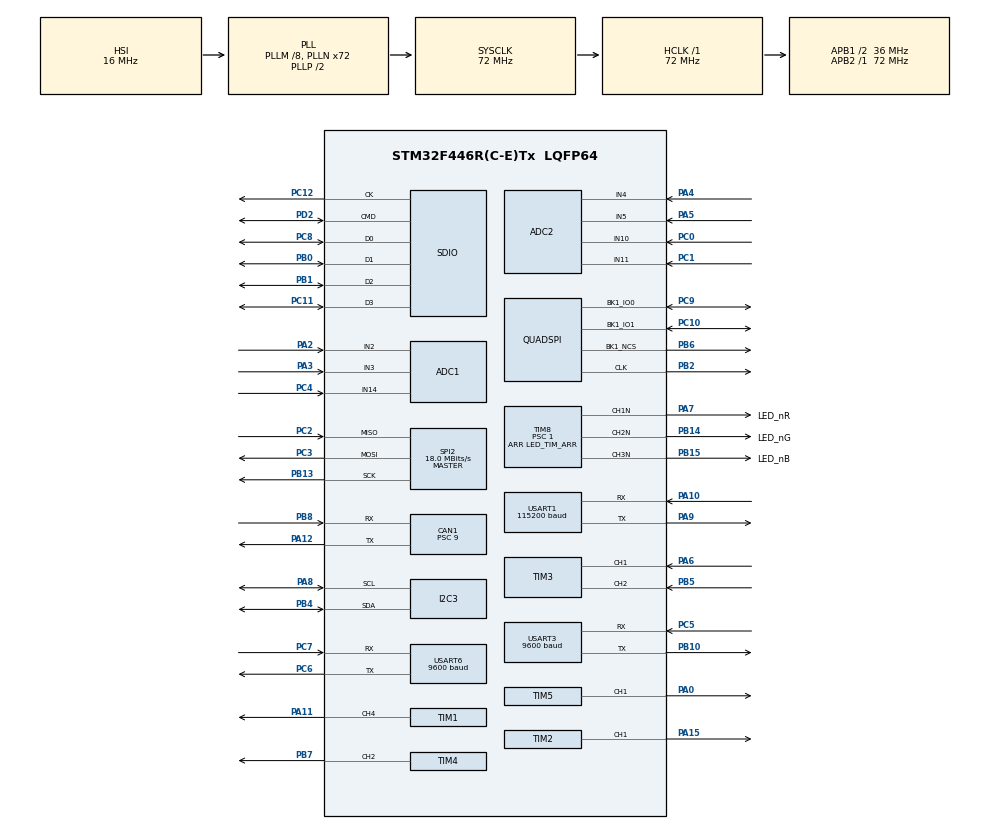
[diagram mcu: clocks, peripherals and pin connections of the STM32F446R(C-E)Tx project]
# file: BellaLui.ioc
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ADC1.Channel-95\#ChannelRegularConversion=ADC_CHANNEL_2
ADC1.NbrOfConversionFlag=1
ADC1.Rank-95\#ChannelRegularConversion=1
ADC1.SamplingTime-95\#ChannelRegularConversion=ADC_SAMPLETIME_3CYCLES
ADC1.master=1
ADC2.Channel-88\#ChannelRegularConversion=ADC_CHANNEL_4
ADC2.NbrOfConversionFlag=1
ADC2.Rank-88\#ChannelRegularConversion=1
ADC2.SamplingTime-88\#ChannelRegularConversion=ADC_SAMPLETIME_3CYCLES
CAN1.BS1=CAN_BS1_13TQ
CAN1.BS2=CAN_BS2_2TQ
CAN1.CalculateTimeQuantum=250.0
CAN1.NART=ENABLE
CAN1.Prescaler=9
Dma.I2C3_RX.2.Direction=DMA_PERIPH_TO_MEMORY
Dma.I2C3_RX.2.FIFOMode=DMA_FIFOMODE_DISABLE
Dma.I2C3_RX.2.Instance=DMA1_Stream2
Dma.I2C3_RX.2.MemDataAlignment=DMA_MDATAALIGN_BYTE
Dma.I2C3_RX.2.MemInc=DMA_MINC_ENABLE
Dma.I2C3_RX.2.Mode=DMA_NORMAL
Dma.I2C3_RX.2.PeriphDataAlignment=DMA_PDATAALIGN_BYTE
Dma.I2C3_RX.2.PeriphInc=DMA_PINC_DISABLE
Dma.I2C3_RX.2.Priority=DMA_PRIORITY_LOW
Dma.Request0=SDIO_RX
Dma.Request1=SDIO_TX
Dma.Request2=I2C3_RX
Dma.Request3=USART3_RX
Dma.Request4=USART3_TX
Dma.Request5=USART1_TX
Dma.Request6=USART6_RX
Dma.Request7=USART1_RX
Dma.SDIO_RX.0.Direction=DMA_PERIPH_TO_MEMORY
Dma.SDIO_RX.0.FIFOMode=DMA_FIFOMODE_ENABLE
Dma.SDIO_RX.0.FIFOThreshold=DMA_FIFO_THRESHOLD_FULL
Dma.SDIO_RX.0.Instance=DMA2_Stream6
Dma.SDIO_RX.0.MemBurst=DMA_MBURST_INC4
Dma.SDIO_RX.0.MemDataAlignment=DMA_MDATAALIGN_WORD
Dma.SDIO_RX.0.MemInc=DMA_MINC_ENABLE
Dma.SDIO_RX.0.Mode=DMA_PFCTRL
Dma.SDIO_RX.0.PeriphBurst=DMA_PBURST_INC4
Dma.SDIO_RX.0.PeriphDataAlignment=DMA_PDATAALIGN_WORD
Dma.SDIO_RX.0.PeriphInc=DMA_PINC_DISABLE
Dma.SDIO_RX.0.Priority=DMA_PRIORITY_LOW
Dma.SDIO_TX.1.Direction=DMA_MEMORY_TO_PERIPH
Dma.SDIO_TX.1.FIFOMode=DMA_FIFOMODE_ENABLE
Dma.SDIO_TX.1.FIFOThreshold=DMA_FIFO_THRESHOLD_FULL
Dma.SDIO_TX.1.Instance=DMA2_Stream3
Dma.SDIO_TX.1.MemBurst=DMA_MBURST_INC4
Dma.SDIO_TX.1.MemDataAlignment=DMA_MDATAALIGN_WORD
Dma.SDIO_TX.1.MemInc=DMA_MINC_ENABLE
Dma.SDIO_TX.1.Mode=DMA_PFCTRL
Dma.SDIO_TX.1.PeriphBurst=DMA_PBURST_INC4
Dma.SDIO_TX.1.PeriphDataAlignment=DMA_PDATAALIGN_WORD
Dma.SDIO_TX.1.PeriphInc=DMA_PINC_DISABLE
Dma.SDIO_TX.1.Priority=DMA_PRIORITY_LOW
Dma.USART1_RX.7.Direction=DMA_PERIPH_TO_MEMORY
Dma.USART1_RX.7.FIFOMode=DMA_FIFOMODE_DISABLE
Dma.USART1_RX.7.Instance=DMA2_Stream2
Dma.USART1_RX.7.MemDataAlignment=DMA_MDATAALIGN_BYTE
Dma.USART1_RX.7.MemInc=DMA_MINC_ENABLE
Dma.USART1_RX.7.Mode=DMA_NORMAL
Dma.USART1_RX.7.PeriphDataAlignment=DMA_PDATAALIGN_BYTE
Dma.USART1_RX.7.PeriphInc=DMA_PINC_DISABLE
Dma.USART1_RX.7.Priority=DMA_PRIORITY_LOW
Dma.USART1_TX.5.Direction=DMA_MEMORY_TO_PERIPH
Dma.USART1_TX.5.FIFOMode=DMA_FIFOMODE_DISABLE
Dma.USART1_TX.5.Instance=DMA2_Stream7
Dma.USART1_TX.5.MemDataAlignment=DMA_MDATAALIGN_BYTE
Dma.USART1_TX.5.MemInc=DMA_MINC_ENABLE
Dma.USART1_TX.5.Mode=DMA_NORMAL
Dma.USART1_TX.5.PeriphDataAlignment=DMA_PDATAALIGN_BYTE
Dma.USART1_TX.5.PeriphInc=DMA_PINC_DISABLE
Dma.USART1_TX.5.Priority=DMA_PRIORITY_LOW
Dma.USART3_RX.3.Direction=DMA_PERIPH_TO_MEMORY
Dma.USART3_RX.3.FIFOMode=DMA_FIFOMODE_DISABLE
Dma.USART3_RX.3.Instance=DMA1_Stream1
Dma.USART3_RX.3.MemDataAlignment=DMA_MDATAALIGN_BYTE
Dma.USART3_RX.3.MemInc=DMA_MINC_ENABLE
Dma.USART3_RX.3.Mode=DMA_NORMAL
Dma.USART3_RX.3.PeriphDataAlignment=DMA_PDATAALIGN_BYTE
Dma.USART3_RX.3.PeriphInc=DMA_PINC_DISABLE
Dma.USART3_RX.3.Priority=DMA_PRIORITY_LOW
Dma.USART3_TX.4.Direction=DMA_MEMORY_TO_PERIPH
Dma.USART3_TX.4.FIFOMode=DMA_FIFOMODE_DISABLE
Dma.USART3_TX.4.Instance=DMA1_Stream4
Dma.USART3_TX.4.MemDataAlignment=DMA_MDATAALIGN_BYTE
Dma.USART3_TX.4.MemInc=DMA_MINC_ENABLE
Dma.USART3_TX.4.Mode=DMA_NORMAL
Dma.USART3_TX.4.PeriphDataAlignment=DMA_PDATAALIGN_BYTE
Dma.USART3_TX.4.PeriphInc=DMA_PINC_DISABLE
Dma.USART3_TX.4.Priority=DMA_PRIORITY_LOW
Dma.USART6_RX.6.Direction=DMA_PERIPH_TO_MEMORY
Dma.USART6_RX.6.FIFOMode=DMA_FIFOMODE_DISABLE
Dma.USART6_RX.6.Instance=DMA2_Stream1
Dma.USART6_RX.6.MemDataAlignment=DMA_MDATAALIGN_BYTE
Dma.USART6_RX.6.MemInc=DMA_MINC_ENABLE
Dma.USART6_RX.6.Mode=DMA_CIRCULAR
Dma.USART6_RX.6.PeriphDataAlignment=DMA_PDATAALIGN_BYTE
Dma.USART6_RX.6.PeriphInc=DMA_PINC_DISABLE
Dma.USART6_RX.6.Priority=DMA_PRIORITY_LOW
FATFS._FS_LOCK=2
FATFS._USE_STRFUNC=0
FREERTOS.Tasks01=defaultTask,0,128,StartDefaultTask,Default,NULL,Dynamic,NULL,NULL
Mcu.Family=STM32F4
Mcu.Name=STM32F446R(C-E)Tx
Mcu.Package=LQFP64
Mcu.UserConstants=LED_TIM_ARR,1000
NVIC.CAN1_RX0_IRQn=true\:5\:0\:false\:false\:true\:true\:true\:true
NVIC.DMA1_Stream1_IRQn=true\:5\:0\:false\:false\:true\:true\:true\:true
NVIC.DMA1_Stream2_IRQn=true\:5\:0\:false\:false\:true\:true\:true\:true
NVIC.DMA1_Stream4_IRQn=true\:5\:0\:false\:false\:true\:true\:true\:true
NVIC.DMA2_Stream1_IRQn=true\:5\:0\:false\:false\:true\:true\:true\:true
NVIC.DMA2_Stream2_IRQn=true\:5\:0\:false\:false\:true\:true\:false\:true
NVIC.DMA2_Stream3_IRQn=true\:5\:0\:false\:false\:true\:true\:true\:true
NVIC.DMA2_Stream6_IRQn=true\:5\:0\:false\:false\:true\:true\:true\:true
NVIC.DMA2_Stream7_IRQn=true\:5\:0\:false\:false\:true\:true\:true\:true
NVIC.PriorityGroup=NVIC_PRIORITYGROUP_4
NVIC.QUADSPI_IRQn=true\:5\:0\:false\:false\:true\:true\:true\:true
NVIC.SDIO_IRQn=true\:5\:0\:false\:false\:true\:true\:true\:true
NVIC.TIM8_TRG_COM_TIM14_IRQn=true\:0\:0\:false\:false\:true\:false\:false\:false
NVIC.TimeBase=TIM8_TRG_COM_TIM14_IRQn
NVIC.TimeBaseIP=TIM14
NVIC.USART1_IRQn=true\:5\:0\:false\:false\:true\:true\:true\:true
PA0-WKUP.Signal=S_TIM5_CH1
PA10.Mode=Asynchronous
PA10.Signal=USART1_RX
PA11.Signal=S_TIM1_CH4
PA12.Mode=Master
PA12.Signal=CAN1_TX
PA13.Mode=Trace_Asynchronous_SW
PA13.Signal=SYS_JTMS-SWDIO
PA14.Mode=Trace_Asynchronous_SW
PA14.Signal=SYS_JTCK-SWCLK
PA15.Signal=S_TIM2_CH1_ETR
PA2.Signal=ADCx_IN2
PA3.Signal=ADCx_IN3
PA4.Signal=ADCx_IN4
PA5.Signal=ADCx_IN5
PA6.Signal=S_TIM3_CH1
PA7.GPIO_Label=LED_nR
PA7.Mode=PWM Generation1 CH1N
PA7.Signal=TIM8_CH1N
PA8.Mode=I2C
PA8.Signal=I2C3_SCL
PA9.Mode=Asynchronous
PA9.Signal=USART1_TX
PB0.Mode=SD_4_bits_Wide_bus
PB0.Signal=SDIO_D1
PB1.Mode=SD_4_bits_Wide_bus
PB1.Signal=SDIO_D2
PB10.Mode=Asynchronous
PB10.Signal=USART3_TX
PB13.Mode=Full_Duplex_Master
PB13.Signal=SPI2_SCK
PB14.GPIO_Label=LED_nG
PB14.Mode=PWM Generation2 CH2N
PB14.Signal=TIM8_CH2N
PB15.GPIO_Label=LED_nB
PB15.Mode=PWM Generation3 CH3N
PB15.Signal=TIM8_CH3N
PB2.Mode=Single Bank 1 2IOs
PB2.Signal=QUADSPI_CLK
PB3.Mode=Trace_Asynchronous_SW
PB3.Signal=SYS_JTDO-SWO
PB4.Mode=I2C
PB4.Signal=I2C3_SDA
PB5.Signal=S_TIM3_CH2
PB6.Mode=Single Bank 1 2IOs
PB6.Signal=QUADSPI_BK1_NCS
PB7.Signal=S_TIM4_CH2
PB8.Mode=Master
PB8.Signal=CAN1_RX
PC0.Signal=ADCx_IN10
PC1.Signal=ADCx_IN11
PC10.Mode=Single Bank 1 2IOs
PC10.Signal=QUADSPI_BK1_IO1
PC11.Mode=SD_4_bits_Wide_bus
PC11.Signal=SDIO_D3
PC12.Mode=SD_4_bits_Wide_bus
PC12.Signal=SDIO_CK
PC14-OSC32_IN.Mode=LSE-External-Oscillator
PC14-OSC32_IN.Signal=RCC_OSC32_IN
PC15-OSC32_OUT.Mode=LSE-External-Oscillator
PC15-OSC32_OUT.Signal=RCC_OSC32_OUT
PC2.Mode=Full_Duplex_Master
PC2.Signal=SPI2_MISO
PC3.Mode=Full_Duplex_Master
PC3.Signal=SPI2_MOSI
PC4.Signal=ADCx_IN14
PC5.Mode=Asynchronous
PC5.Signal=USART3_RX
PC6.Mode=Asynchronous
PC6.Signal=USART6_TX
PC7.Mode=Asynchronous
PC7.Signal=USART6_RX
PC8.Mode=SD_4_bits_Wide_bus
PC8.Signal=SDIO_D0
PC9.Mode=Single Bank 1 2IOs
PC9.Signal=QUADSPI_BK1_IO0
PD2.Mode=SD_4_bits_Wide_bus
PD2.Signal=SDIO_CMD
PH0-OSC_IN.Mode=HSE-External-Oscillator
PH0-OSC_IN.Signal=RCC_OSC_IN
PH1-OSC_OUT.Mode=HSE-External-Oscillator
PH1-OSC_OUT.Signal=RCC_OSC_OUT
ProjectManager.HeapSize=0x200
ProjectManager.StackSize=0x400
ProjectManager.TargetToolchain=SW4STM32
QUADSPI.FlashSize=26
RCC.AHBFreq_Value=72000000
RCC.APB1CLKDivider=RCC_HCLK_DIV2
RCC.APB1Freq_Value=36000000
RCC.APB1TimFreq_Value=72000000
RCC.APB2Freq_Value=72000000
RCC.APB2TimFreq_Value=72000000
RCC.CortexFreq_Value=72000000
RCC.HCLKFreq_Value=72000000
RCC.HSE_VALUE=8000000
RCC.PLLM=8
RCC.PLLN=72
RCC.PLLQ=3
RCC.SYSCLKFreq_VALUE=72000000
RCC.SYSCLKSource=RCC_SYSCLKSOURCE_PLLCLK
RCC.USBFreq_Value=48000000
RCC.VCOOutputFreq_Value=144000000
SH.ADCx_IN10.0=ADC2_IN10,IN10
SH.ADCx_IN11.0=ADC2_IN11,IN11
SH.ADCx_IN14.0=ADC1_IN14,IN14
SH.ADCx_IN2.0=ADC1_IN2,IN2
SH.ADCx_IN3.0=ADC1_IN3,IN3
SH.ADCx_IN4.0=ADC2_IN4,IN4
SH.ADCx_IN5.0=ADC2_IN5,IN5
SH.S_TIM1_CH4.0=TIM1_CH4,Output Compare4 CH4
SH.S_TIM2_CH1_ETR.0=TIM2_CH1,Output Compare1 CH1
SH.S_TIM3_CH1.0=TIM3_CH1,TriggerSource_TI1FP1
SH.S_TIM3_CH2.0=TIM3_CH2,Input_Capture2_from_TI2
SH.S_TIM4_CH2.0=TIM4_CH2,Output Compare2 CH2
SH.S_TIM5_CH1.0=TIM5_CH1,Output Compare1 CH1
SPI2.BaudRatePrescaler=SPI_BAUDRATEPRESCALER_2
SPI2.CalculateBaudRate=18.0 MBits/s
SPI2.Direction=SPI_DIRECTION_2LINES
SPI2.Mode=SPI_MODE_MASTER
SPI2.VirtualType=VM_MASTER
TIM1.Channel-Output\ Compare4\ CH4=TIM_CHANNEL_4
TIM2.Channel-Output\ Compare1\ CH1=TIM_CHANNEL_1
TIM3.Channel-Input_Capture2_from_TI2=TIM_CHANNEL_2
TIM4.Channel-Output\ Compare2\ CH2=TIM_CHANNEL_2
TIM5.Channel-Output\ Compare1\ CH1=TIM_CHANNEL_1
TIM8.Channel-PWM\ Generation1\ CH1N=TIM_CHANNEL_1
TIM8.Channel-PWM\ Generation2\ CH2N=TIM_CHANNEL_2
TIM8.Channel-PWM\ Generation3\ CH3N=TIM_CHANNEL_3
TIM8.OCMode_PWM-PWM\ Generation1\ CH1N=TIM_OCMODE_PWM2
TIM8.OCMode_PWM-PWM\ Generation2\ CH2N=TIM_OCMODE_PWM2
TIM8.OCMode_PWM-PWM\ Generation3\ CH3N=TIM_OCMODE_PWM2
TIM8.Period=LED_TIM_ARR
TIM8.Prescaler=1
USART1.BaudRate=115200
USART1.VirtualMode=VM_ASYNC
USART3.BaudRate=9600
USART3.VirtualMode=VM_ASYNC
USART6.BaudRate=9600
USART6.VirtualMode=VM_ASYNC
VP_FATFS_VS_SDIO.Mode=SDIO
VP_FREERTOS_VS_CMSIS_V1.Mode=CMSIS_V1
VP_SYS_VS_tim14.Mode=TIM14
VP_TIM1_VS_ClockSourceINT.Mode=Internal
VP_TIM2_VS_ClockSourceINT.Mode=Internal
VP_TIM3_VS_ControllerModeClock.Mode=Clock Mode
VP_TIM4_VS_ClockSourceINT.Mode=Internal
VP_TIM5_VS_ClockSourceINT.Mode=Internal
VP_TIM8_VS_ClockSourceINT.Mode=Internal
board=custom

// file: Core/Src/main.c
/* USER CODE BEGIN Header */
/**
 ******************************************************************************
 * @file           : main.c
 * @brief          : Main program body
 ******************************************************************************
 * @attention
 *
 * <h2><center>&copy; Copyright (c) 2019 STMicroelectronics.
 * All rights reserved.</center></h2>
 *
 * This software component is licensed by ST under Ultimate Liberty license
 * SLA0044, the "License"; You may not use this file except in compliance with
 * the License. You may obtain a copy of the License at:
 *                             www.st.com/SLA0044
 *
 ******************************************************************************
 */
/* USER CODE END Header */

#include "main.h"

#include "cmsis_os.h"
#include "adc.h"
#include "can.h"
#include "dma.h"
#include "fatfs.h"
#include "i2c.h"
#include "quadspi.h"
#include "sdio.h"
#include "spi.h"
#include "tim.h"
#include "usart.h"
#include "gpio.h"

/* USER CODE BEGIN Includes */
#include "threads.h"
#include "can_transmission.h"
#include "debug/led.h"
#include "debug/console.h"
#include "debug/shell.h"
#include "debug/terminal.h"

/* USER CODE END Includes */

void SystemClock_Config(void);
void MX_FREERTOS_Init(void);
/* USER CODE BEGIN PFP */
void init_filesystem();
/* USER CODE END PFP */

int main(void) {

	/* MCU Configuration--------------------------------------------------------*/

	/* Reset of all peripherals, Initializes the Flash interface and the Systick. */
	HAL_Init();

	/* Configure the system clock */
	SystemClock_Config();

	/* Initialize all configured peripherals */
	MX_GPIO_Init();
	MX_DMA_Init();
	MX_ADC1_Init();
	MX_ADC2_Init();
	MX_CAN1_Init();
	MX_I2C3_Init();
	MX_QUADSPI_Init();
	MX_SDIO_SD_Init();
	MX_SPI2_Init();
	MX_TIM1_Init();
	MX_TIM2_Init();
	MX_TIM3_Init();
	MX_TIM4_Init();
	MX_TIM5_Init();
	MX_TIM8_Init();
	MX_USART1_UART_Init();
	MX_USART3_UART_Init();

	/* USER CODE BEGIN 2 */

	// NOTE : REMEMBER TO ERASE MX_USART6_UART_Init(); IN THE AUTOMATICALLY GENERATED CODE ABOVE
	// WHEN YOU REGENERATE THE IOC

#ifdef SENSOR_BOARD
	MX_FMPI2C1_Init();
#else
	MX_USART6_UART_Init();
#endif

	// Outdated: Semi-hosting has to be enabled in eclipse, otherwise the program will sigtrap at the instruction initialise_monitor_handler() in main.c
	rocket_log_init(&huart3);
	shell_init(&huart3, &terminal_execute);

	rocket_boot_log("BellaLui v1.0\r\n\r\n");

	led_init();
	led_set_rgb(127, 255, 255);

	CAN_Config(CAN_ID); // A changer en fonction de la board

	init_filesystem();

	/* USER CODE END 2 */

	/* Call init function for freertos objects (in freertos.c) */
	MX_FREERTOS_Init();

	/* Start scheduler */
	osKernelStart();

	/* We should never get here as control is now taken by the scheduler */

	/* Infinite loop */
	while (1) {

	}
}

void SystemClock_Config(void) {
	RCC_OscInitTypeDef RCC_OscInitStruct = { 0 };
	RCC_ClkInitTypeDef RCC_ClkInitStruct = { 0 };
	RCC_PeriphCLKInitTypeDef PeriphClkInitStruct = { 0 };

	/** Configure the main internal regulator output voltage
	 */
	__HAL_RCC_PWR_CLK_ENABLE();
	__HAL_PWR_VOLTAGESCALING_CONFIG(PWR_REGULATOR_VOLTAGE_SCALE3);
	/** Initializes the CPU, AHB and APB busses clocks
	 */
	RCC_OscInitStruct.OscillatorType = RCC_OSCILLATORTYPE_HSI;
	RCC_OscInitStruct.HSIState = RCC_HSI_ON;
	RCC_OscInitStruct.LSIState = RCC_LSI_ON;
	RCC_OscInitStruct.HSICalibrationValue = RCC_HSICALIBRATION_DEFAULT;
	RCC_OscInitStruct.PLL.PLLState = RCC_PLL_ON;
	RCC_OscInitStruct.PLL.PLLSource = RCC_PLLSOURCE_HSI;
	RCC_OscInitStruct.PLL.PLLM = 8;
	RCC_OscInitStruct.PLL.PLLN = 72;
	RCC_OscInitStruct.PLL.PLLP = RCC_PLLP_DIV2;
	RCC_OscInitStruct.PLL.PLLQ = 3;
	RCC_OscInitStruct.PLL.PLLR = 2;
	if (HAL_RCC_OscConfig(&RCC_OscInitStruct) != HAL_OK) {
		Error_Handler();
	}
	/** Initializes the CPU, AHB and APB busses clocks
	 */
	RCC_ClkInitStruct.ClockType = RCC_CLOCKTYPE_HCLK | RCC_CLOCKTYPE_SYSCLK
			| RCC_CLOCKTYPE_PCLK1 | RCC_CLOCKTYPE_PCLK2;
	RCC_ClkInitStruct.SYSCLKSource = RCC_SYSCLKSOURCE_PLLCLK;
	RCC_ClkInitStruct.AHBCLKDivider = RCC_SYSCLK_DIV1;
	RCC_ClkInitStruct.APB1CLKDivider = RCC_HCLK_DIV2;
	RCC_ClkInitStruct.APB2CLKDivider = RCC_HCLK_DIV1;

	if (HAL_RCC_ClockConfig(&RCC_ClkInitStruct, FLASH_LATENCY_2) != HAL_OK) {
		Error_Handler();
	}
	PeriphClkInitStruct.PeriphClockSelection = RCC_PERIPHCLK_SDIO
			| RCC_PERIPHCLK_CLK48;
	PeriphClkInitStruct.Clk48ClockSelection = RCC_CLK48CLKSOURCE_PLLQ;
	PeriphClkInitStruct.SdioClockSelection = RCC_SDIOCLKSOURCE_CLK48;
	if (HAL_RCCEx_PeriphCLKConfig(&PeriphClkInitStruct) != HAL_OK) {
		Error_Handler();
	}
}

void HAL_TIM_PeriodElapsedCallback(TIM_HandleTypeDef *htim) {
	if (htim->Instance == TIM14) {
		HAL_IncTick();
	}
}

void Error_Handler(void) {
}

/************************ (C) COPYRIGHT STMicroelectronics *****END OF FILE****/

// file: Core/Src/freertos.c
/* USER CODE BEGIN Header */
/**
  ******************************************************************************
  * File Name          : freertos.c
  * Description        : Code for freertos applications
  ******************************************************************************
  * @attention
  *
  * <h2><center>&copy; Copyright (c) 2019 STMicroelectronics.
  * All rights reserved.</center></h2>
  *
  * This software component is licensed by ST under Ultimate Liberty license
  * SLA0044, the "License"; You may not use this file except in compliance with
  * the License. You may obtain a copy of the License at:
  *                             www.st.com/SLA0044
  *
  ******************************************************************************
  */
/* USER CODE END Header */

#include "FreeRTOS.h"
#include "task.h"
#include "main.h"
#include "cmsis_os.h"

/* USER CODE BEGIN Includes */
#include <threads.h>
/* USER CODE END Includes */

osThreadId defaultTaskHandle;

void StartDefaultTask(void const * argument);;

extern void MX_FATFS_Init(void);
void MX_FREERTOS_Init(void); /* (MISRA C 2004 rule 8.1) */

/* GetIdleTaskMemory prototype (linked to static allocation support) */
void vApplicationGetIdleTaskMemory( StaticTask_t **ppxIdleTaskTCBBuffer, StackType_t **ppxIdleTaskStackBuffer, uint32_t *pulIdleTaskStackSize );

/* USER CODE BEGIN GET_IDLE_TASK_MEMORY */
static StaticTask_t xIdleTaskTCBBuffer;
static StackType_t xIdleStack[configMINIMAL_STACK_SIZE];

void vApplicationGetIdleTaskMemory( StaticTask_t **ppxIdleTaskTCBBuffer, StackType_t **ppxIdleTaskStackBuffer, uint32_t *pulIdleTaskStackSize )
{
  *ppxIdleTaskTCBBuffer = &xIdleTaskTCBBuffer;
  *ppxIdleTaskStackBuffer = &xIdleStack[0];
  *pulIdleTaskStackSize = configMINIMAL_STACK_SIZE;
  /* place for user code */
}
/* USER CODE END GET_IDLE_TASK_MEMORY */

void MX_FREERTOS_Init(void) {

  /* USER CODE BEGIN RTOS_SEMAPHORES */
  /* add semaphores, ... */
	create_semaphores();
  /* USER CODE END RTOS_SEMAPHORES */

  /* Create the thread(s) */
  /* definition and creation of defaultTask */
  osThreadDef(defaultTask, StartDefaultTask, osPriorityNormal, 0, 128);
  defaultTaskHandle = osThreadCreate(osThread(defaultTask), NULL);

  /* USER CODE BEGIN RTOS_THREADS */
  /* add threads, ... */
  create_threads();
  /* USER CODE END RTOS_THREADS */

}

void StartDefaultTask(void const * argument)
{

  /* init code for FATFS */
  MX_FATFS_Init();

  for(;;)
  {
    osDelay(1);
  }
}

/************************ (C) COPYRIGHT STMicroelectronics *****END OF FILE****/
